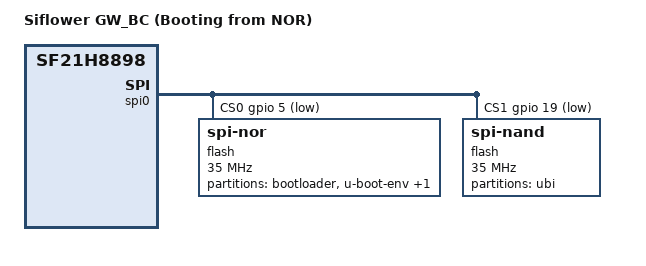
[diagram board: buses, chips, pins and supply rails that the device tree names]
/dts-v1/;
#include "sf21h8898-gw-bc.dtsi"


/ {
	model = "Siflower GW_BC (Booting from NOR)";
	compatible = "siflower,gw-bc", "siflower,sf21h8898";
};

&spi0_pins {
	pinctrl-single,pins = <
		SPI0_TXD	FUNC_MODE0
		SPI0_RXD	FUNC_MODE0
		SPI0_CLK	FUNC_MODE0
		SPI0_HOLD	FUNC_MODE0
		SPI0_WP		FUNC_MODE0
	>;
};

&spi0 {
	status = "okay";
	num-cs = <2>;
	cs-gpios = <&gpio 5 GPIO_ACTIVE_LOW>, <&gpio 19 GPIO_ACTIVE_LOW>;

	flash@0 {
		compatible = "jedec,spi-nor";
		reg = <0>;
		m25p,fast-read;
		spi-max-frequency = <35000000>;
		spi-tx-bus-width = <2>;
		spi-rx-bus-width = <2>;

		partitions {
			compatible = "fixed-partitions";
			#address-cells = <1>;
			#size-cells = <1>;

			partition@0 {
				label = "bootloader";
				reg = <0x0 0xc0000>;
				read-only;
			};

			partition@c0000 {
				label = "u-boot-env";
				reg = <0xc0000 0x10000>;
			};

			factory: partition@d0000 {
				label = "factory";
				reg = <0xd0000 0x10000>;
			};
		};
	};

	flash@1 {
		compatible = "spi-nand";
		reg = <1>;
		spi-max-frequency = <35000000>;
		spi-tx-bus-width = <2>;
		spi-rx-bus-width = <2>;
		#address-cells = <1>;
		#size-cells = <1>;

		partitions {
			compatible = "fixed-partitions";
			#address-cells = <1>;
			#size-cells = <1>;

			partition@0 {
				label = "ubi";
				reg = <0x0 0x8000000>;
			};
		};
	};
};

#include "sf21h8898-factory.dtsi"
